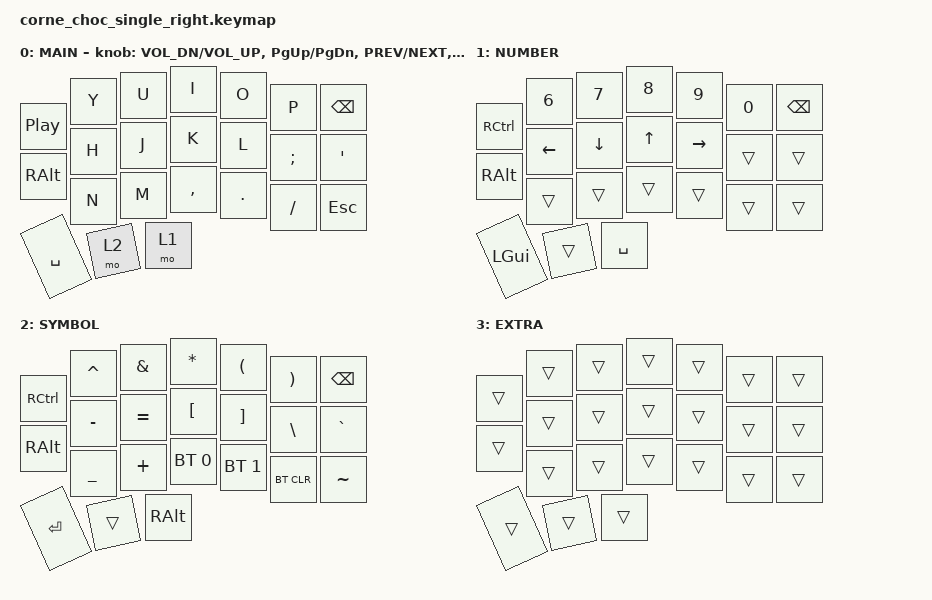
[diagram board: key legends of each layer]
/*
 * Copyright (c) 2020 The ZMK Contributors
 *
 * SPDX-License-Identifier: MIT
 */

#include <behaviors.dtsi>
#include <dt-bindings/zmk/bt.h>
#include <dt-bindings/zmk/keys.h>

/ {
    chosen { zmk,physical-layout = &default_layout; };
};

/ {
    keymap {
        compatible = "zmk,keymap";

        default_layer {
            display-name = "MAIN";
            bindings = <
&kp C_PP  &kp Y      &kp U  &kp I      &kp O    &kp P     &kp BSPC
&kp RALT  &kp H      &kp J  &kp K      &kp L    &kp SEMI  &kp SQT
          &kp N      &kp M  &kp COMMA  &kp DOT  &kp FSLH  &kp ESC
          &kp SPACE  &mo 2  &mo 1
            >;

            sensor-bindings = <&inc_dec_kp C_VOL_DN C_VOL_UP &inc_dec_kp PG_UP PG_DN &inc_dec_kp C_PREV C_NEXT &inc_dec_kp C_BRI_DN C_BRI_UP>;
        };

        lower_layer {
            display-name = "NUMBER";
            bindings = <
&kp RCTRL  &kp N6    &kp N7    &kp N8     &kp N9     &kp N0  &kp BSPC
&kp RALT   &kp LEFT  &kp DOWN  &kp UP     &kp RIGHT  &trans  &trans
           &trans    &trans    &trans     &trans     &trans  &trans
           &kp LGUI  &trans    &kp SPACE
            >;
        };

        raise_layer {
            display-name = "SYMBOL";
            bindings = <
&kp RCTRL  &kp CARET  &kp AMPS   &kp ASTRK     &kp LPAR      &kp RPAR    &kp BSPC
&kp RALT   &kp MINUS  &kp EQUAL  &kp LBKT      &kp RBKT      &kp BSLH    &kp GRAVE
           &kp UNDER  &kp PLUS   &bt BT_SEL 0  &bt BT_SEL 1  &bt BT_CLR  &kp TILDE
           &kp RET    &trans     &kp RALT
            >;
        };

        extra_layer_1 {
            display-name = "EXTRA";
            bindings = <
&trans  &trans  &trans  &trans  &trans  &trans  &trans
&trans  &trans  &trans  &trans  &trans  &trans  &trans
        &trans  &trans  &trans  &trans  &trans  &trans
        &trans  &trans  &trans
            >;
        };
    };
};
